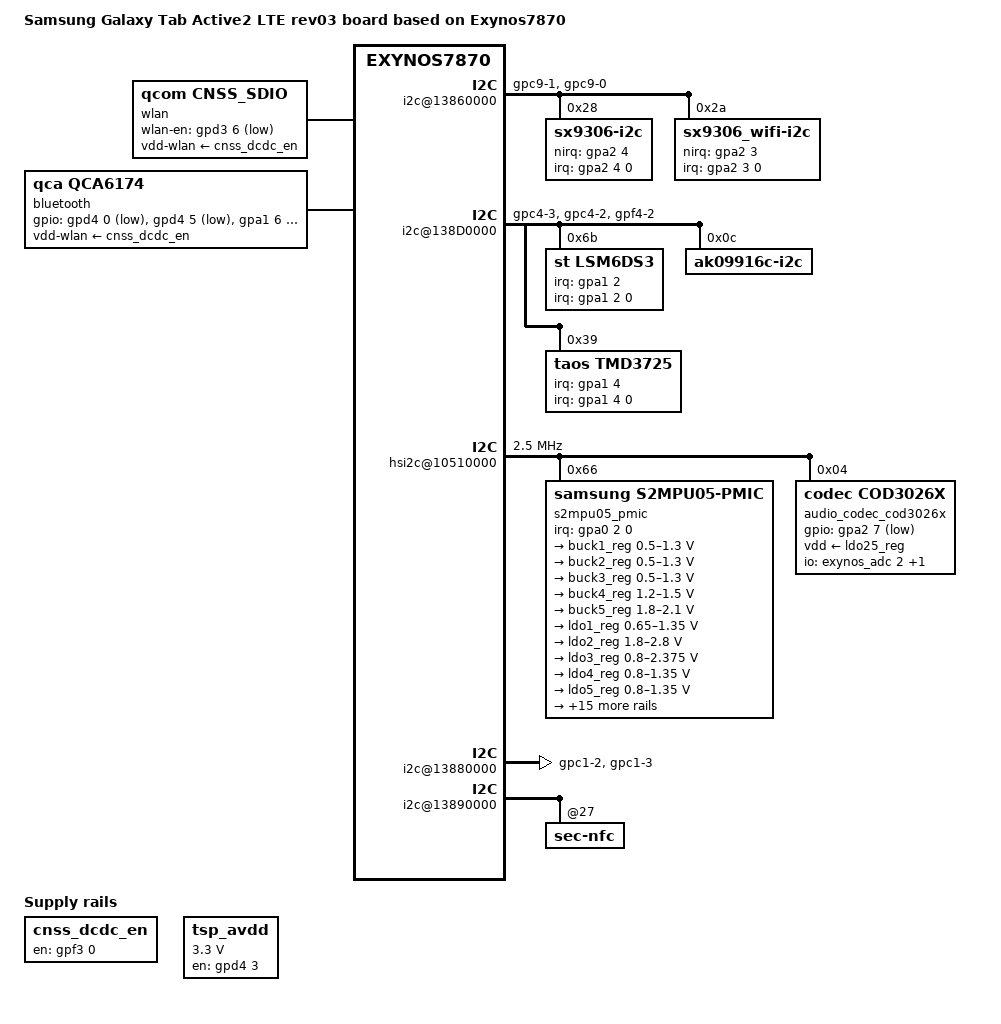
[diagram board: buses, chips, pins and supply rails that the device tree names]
/*
 * SAMSUNG UNIVERSAL8890 board device tree source
 *
 * Copyright (c) 2013 Samsung Electronics Co., Ltd.
 *		http://www.samsung.com
 *
 * This program is free software; you can redistribute it and/or modify
 * it under the terms of the GNU General Public License version 2 as
 * published by the Free Software Foundation.
*/

/dts-v1/;
#include "exynos7870-gtactive2_common.dtsi"
#include "modem-ss315ap-pdata.dtsi"
#include "exynos7870-gtactive2lte_eur_open_gpio_03.dtsi"
#include "z_batterydata_gtactive2lte_eur_open_common.dtsi"
#include "exynos7870-gtactive2lte_fingerprint-sensor_02.dtsi"

/ {
	model = "Samsung Galaxy Tab Active2 LTE rev03 board based on Exynos7870";
        model_info-chip = <7870>;
        model_info-platform = "android";
        model_info-subtype = "samsung";
        model_info-hw_rev = <3>;
        model_info-hw_rev_end = <3>;
	compatible = "samsung, Galaxy Tab Active2 LTE 03", "samsung,exynos7870";

	cnss_dcdc_en: cnss_dcdc_en {
		compatible = "regulator-fixed";
		regulator-name = "cnss_dcdc_en";
		startup-delay-us = <4000>;
		enable-active-high;
		gpio = <&gpf3 0 0>;
	};

	serial_2: uart@13820000 {
		samsung,alive-io;
	};

	pinctrl@139F0000 {
		acc_int: acc_int {
			samsung,pins = "gpa1-2";
			samsung,pin-function = <0xF>;
			samsung,pin-pud = <0>;
			samsung,pin-drv = <0>;
		};

		grip_int: grip_int {
			samsung,pins = "gpa2-4";
			samsung,pin-function = <0xF>;
			samsung,pin-pud = <0>;
			samsung,pin-drv = <0>;
		};

		grip_wifi_int: grip_wifi_int {
			samsung,pins = "gpa2-3";
			samsung,pin-function = <0xF>;
			samsung,pin-pud = <0>;
			samsung,pin-drv = <0>;
		};

		prox_int: prox_int {
			samsung,pins = "gpa1-4";
			samsung,pin-function = <0xF>;
			samsung,pin-pud = <0>;
			samsung,pin-drv = <0>;
		};
		/delete-node/ bt-btwake;
	};

	i2c@13860000 {
		samsung,i2c-sda-delay = <100>;
		samsung,i2c-max-bus-freq = <400000>;
		status = "okay";
		#address-cells = <1>;
		#size-cells = <0>;
		pinctrl-names = "default";
		pinctrl-0 = <&grip_i2c>;
		
		sx9306-i2c@28 {
			compatible = "sx9306-i2c";
			reg = <0x28>;
			pinctrl-names = "default";
			pinctrl-0 = <&grip_int>;
			interrupt-parent = <&gpa2>;
			interrupts = <4 0 0>;
			sx9306-i2c,nirq-gpio = <&gpa2 4 0>;
			#sx9306-i2c,ctrl0 = <0x14>; /* Scanperiod : 60 */
			sx9306-i2c,ctrl2 = <0x77>; /* Gain: 8, Freq : 167, Resolution : Finest */
			sx9306-i2c,ctrl3 = <0x03>; /* Rawfilter: High */
			#sx9306-i2c,ctrl5 = <0x0f>; /* AVGNEG:001 AVGPOS : 111 */
			sx9306-i2c,normal-thd = <7>; /* normal touch threshold */
			sx9306-i2c,ch-main = <2>; /* channel number */
			sx9306-i2c,ch-sub1 = <0xff>; /*oxff: Not be used sub channel */
			sx9306-i2c,ta-thd = <0x11>; /* TA threhold : 400 */
		};
		
		sx9306_wifi-i2c@2a{
			compatible = "sx9306_wifi-i2c";
			reg = <0x2a>;
			pinctrl-names = "default";
			pinctrl-0 = <&grip_wifi_int>;
			interrupt-parent = <&gpa2>;
			interrupts = <3 0 0>;
			sx9306_wifi-i2c,nirq-gpio = <&gpa2 3 0>;
			#sx9306_wifi-i2c,ctrl0 = <0x04>; /* Scanperiod : 30 */
			sx9306_wifi-i2c,ctrl2 = <0x77>; /* Gain:8, Freq : 167, Resolution : Finest */
			sx9306_wifi-i2c,ctrl3 = <0x03>; /* Rawfilter: High */
			#sx9306_wifi-i2c,ctrl5 = <0x0f>; /* AVGNEG:001 AVGPOS : 111 */
			sx9306_wifi-i2c,normal-thd = <4>; /* normal touch threshold */
			sx9306_wifi-i2c,ch-main = <2>; /* channel number */
			sx9306_wifi-i2c,ch-sub1 = <0xff>; /*oxff: Not be used sub channel */
			sx9306_wifi-i2c,ta-thd = <0x0f>; /* TA threhold : 300 */
		};
	};
	
	i2c@138D0000 {
		samsung,i2c-sda-delay = <100>;
		samsung,i2c-max-bus-freq = <400000>;
		status = "okay";
		#address-cells = <1>;
		#size-cells = <0>;
		pinctrl-names = "default";
		pinctrl-0 = <&sensor_i2c &sensor_ldo_en>;

		lsm6ds3@6b {
			compatible = "st,lsm6ds3";
			reg = <0x6b>;
			pinctrl-names = "default";
			pinctrl-0 = <&acc_int>;
			interrupt-parent = <&gpa1>;
			interrupts = <2 0 0>;
			st,orientation = <1 2 1 2 1 1 1 1 0>;
			st,drdy-int-pin = <1>;
			st,irq_gpio = <&gpa1 2 0x00>;
		};

		ak09916c-i2c@0C {
			compatible = "ak09916c-i2c";
			reg = <0x0c>;
			ak09916c-i2c,chip_pos = <0>;
		};

		tmd3725@39 {
			compatible = "taos,tmd3725";
			reg = <0x39>;
			pinctrl-names = "default";
			pinctrl-0 = <&prox_int &proxy_led_en>;
			interrupt-parent = <&gpa1>;
			interrupts = <4 0 0>;
			taos,irq_gpio = <&gpa1 4 0x00>;
			taos,vled_ldo_pin = <&gpd3 3 0x00>;
			taos,prox_thd_det_hi = <55>;
			taos,prox_thd_still_det_low = <40>;
			taos,prox_thd_still_det_hi = <250>;
			taos,prox_thd_rel_low = <130>;
			taos,coef_r = <(-830)>;
			taos,coef_g = <1100>;
			taos,coef_b = <(-1180)>;
			taos,coef_c = <1000>;
			taos,dgf = <925>;
			taos,cct_coef = <3521>;
			taos,cct_offset = <2095>;
		};
	};

	hsi2c@10510000 {
		status = "okay";
		samsung,hs-mode;
		clock-frequency = <2500000>;
		samsung,hsi2c-batcher;
		#address-cells = <1>;
		#size-cells = <0>;

		s2mpu05_pmic@66 {
			compatible = "samsung,s2mpu05-pmic";
			reg = <0x66>;
			ten-bit-address;
			interrupts = <2 0 0>;
			interrupt-parent = <&gpa0>;
			pinctrl-names = "default";
			pinctrl-0 = <&pmic_irq &pm_wrsti>;
			g3d_en = <1>; /* 1 : enable , 0 : disable */
			buck2en_pin = "etc1-3";
			buck2en_addr = "139B0080.pinctrl";
			/* RTC: wtsr/smpl */
			wtsr_en = <1>; /* enable */
			smpl_en = <1>; /* enable */
			wtsr_timer_val = <3>;   /* 1000ms */
			smpl_timer_val = <4>;   /* 500ms */
			check_jigon = <0>; /* do not check jigon */
			/* RTC: If it's first boot, reset rtc to 1/1/2017 12:00:00(Sun) */
			init_time,sec = <0>;
			init_time,min = <0>;
			init_time,hour = <12>;
			init_time,mday = <1>;
			init_time,mon = <0>;
			init_time,year = <117>;
			init_time,wday = <0>;

			regulators {
				buck1_reg: BUCK1 {
					regulator-name = "BUCK1";
					regulator-min-microvolt = <500000>;
					regulator-max-microvolt = <1300000>;
					regulator-always-on;
					regulator-boot-on;
					regulator-ramp-delay = <12000>;
					regulator-initial-mode = <1>;
					regulator-expected-consumer = <2>;
				};

				buck2_reg: BUCK2 {
					regulator-name = "BUCK2";
					regulator-min-microvolt = <500000>;
					regulator-max-microvolt = <1300000>;
					regulator-always-on;
					regulator-boot-on;
					regulator-ramp-delay = <12000>;
					regulator-initial-mode = <2>;		/* MIF mode */
					regulator-expected-consumer = <4>;
				};

				buck3_reg: BUCK3 {
					regulator-name = "BUCK3";
					regulator-min-microvolt = <500000>;
					regulator-max-microvolt = <1300000>;
					regulator-always-on;
					regulator-boot-on;
					regulator-ramp-delay = <12000>;
					regulator-initial-mode = <2>;
				};

				buck4_reg: BUCK4 {
					regulator-name = "BUCK4";
					regulator-min-microvolt = <1200000>;
					regulator-max-microvolt = <1500000>;
					regulator-always-on;
					regulator-boot-on;
					regulator-ramp-delay = <12000>;
					regulator-initial-mode = <2>;
				};

				buck5_reg: BUCK5 {
					regulator-name = "BUCK5";
					regulator-min-microvolt = <1800000>;
					regulator-max-microvolt = <2100000>;
					regulator-always-on;
					regulator-boot-on;
					regulator-ramp-delay = <12000>;
					regulator-initial-mode = <2>;
				};

				ldo1_reg: LDO1 {
					regulator-name = "vdd_ldo1";
					regulator-min-microvolt = <650000>;
					regulator-max-microvolt = <1350000>;
					regulator-always-on;
					regulator-boot-on;
					regulator-ramp-delay = <12000>;
					regulator-initial-mode = <3>;
				};

				ldo2_reg: LDO2 {
					regulator-name = "vqmmc";
					regulator-min-microvolt = <1800000>;
					regulator-max-microvolt = <2800000>;
					regulator-ramp-delay = <12000>;
					regulator-initial-mode = <0>;
				};

				ldo3_reg: LDO3 {
					regulator-name = "vdd_ldo3";
					regulator-min-microvolt = <800000>;
					regulator-max-microvolt = <2375000>;
					regulator-boot-on;
					regulator-always-on;
					regulator-ramp-delay = <12000>;
					regulator-initial-mode = <3>;
				};

				ldo4_reg: LDO4 {
					regulator-name = "vdd_ldo4";
					regulator-min-microvolt = <800000>;
					regulator-max-microvolt = <1350000>;
					regulator-boot-on;
					regulator-always-on;
					regulator-ramp-delay = <12000>;
					regulator-initial-mode = <1>;
				};

				ldo5_reg: LDO5 {
					regulator-name = "vdd_ldo5";
					regulator-min-microvolt = <800000>;
					regulator-max-microvolt = <1350000>;
					regulator-boot-on;
					regulator-always-on;
					regulator-ramp-delay = <12000>;
					regulator-initial-mode = <3>;
				};

				ldo6_reg: LDO6 {
					regulator-name = "vdd_ldo6";
					regulator-min-microvolt = <800000>;
					regulator-max-microvolt = <1350000>;
					regulator-boot-on;
					regulator-always-on;
					regulator-ramp-delay = <12000>;
					regulator-initial-mode = <1>;
				};

				ldo7_reg: LDO7 {
					regulator-name = "vdd_ldo7";
					regulator-min-microvolt = <800000>;
					regulator-max-microvolt = <2375000>;
					regulator-boot-on;
					regulator-always-on;
					regulator-ramp-delay = <12000>;
					regulator-initial-mode = <1>;
				};

				ldo8_reg: LDO8 {
					regulator-name = "vdd_ldo8";
					regulator-min-microvolt = <1800000>;
					regulator-max-microvolt = <3375000>;
					regulator-boot-on;
					regulator-always-on;
					regulator-ramp-delay = <12000>;
					regulator-initial-mode = <1>;
				};

				ldo9_reg: LDO9 {
					regulator-name = "vdd_ldo9";
					regulator-min-microvolt = <650000>;
					regulator-max-microvolt = <1350000>;
					regulator-always-on;
					regulator-ramp-delay = <12000>;
					regulator-initial-mode = <1>;
				};

				ldo10_reg: LDO10 {
					regulator-name = "vdd_ldo10";
					regulator-min-microvolt = <650000>;
					regulator-max-microvolt = <1350000>;
					regulator-always-on;
					regulator-ramp-delay = <12000>;
					regulator-initial-mode = <1>;
				};

				ldo25_reg: LDO25 {
					regulator-name = "vdd_ldo25";
					regulator-min-microvolt = <800000>;
					regulator-max-microvolt = <2375000>;
					regulator-ramp-delay = <12000>;
					regulator-initial-mode = <1>;
				};

				ldo26_reg: LDO26 {
					regulator-name = "vemmc";
					regulator-min-microvolt = <1800000>;
					regulator-max-microvolt = <3375000>;
					regulator-boot-on;
					regulator-ramp-delay = <12000>;
					regulator-initial-mode = <3>;
				};

				ldo27_reg: LDO27 {
					regulator-name = "vqemmc";
					regulator-min-microvolt = <800000>;
					regulator-max-microvolt = <2375000>;
					regulator-boot-on;
					regulator-ramp-delay = <12000>;
					regulator-initial-mode = <3>;
				};

				ldo29_reg: LDO29 {
					regulator-name = "GRIP_2P8";
					regulator-min-microvolt = <2800000>;
					regulator-max-microvolt = <2800000>;
					regulator-boot-on;
					regulator-always-on;
					regulator-ramp-delay = <12000>;
					regulator-initial-mode = <3>;
				};

				ldo30_reg: LDO30 {
					regulator-name = "LCD_1P8";
					regulator-min-microvolt = <1800000>;
					regulator-max-microvolt = <1800000>;
					regulator-initial-mode = <3>;
				};

				ldo31_reg: LDO31 {
					regulator-name = "vdd_ldo31";
					regulator-min-microvolt = <2800000>;
					regulator-max-microvolt = <2800000>;
					regulator-boot-on;
					regulator-always-on;
					regulator-ramp-delay = <12000>;
					regulator-initial-mode = <3>;
				};

				ldo32_reg: LDO32 {
					regulator-name = "tsp_dvdd";
					regulator-min-microvolt = <1800000>;
					regulator-max-microvolt = <1800000>;
				};

				ldo33_reg: LDO33 {
					regulator-name = "VDD_CAM_AF_2P8";
					regulator-min-microvolt = <2800000>;
					regulator-max-microvolt = <2800000>;
					regulator-initial-mode = <0>;
				};

				ldo34_reg: LDO34 {
					regulator-name = "VDDIO_1.8V_CAM";
					regulator-min-microvolt = <1800000>;
					regulator-max-microvolt = <1800000>;
					regulator-initial-mode = <0>;
				};

				ldo35_reg: LDO35 {
					regulator-name = "VDD_CAM_SENSOR_A2P8";
					regulator-min-microvolt = <2800000>;
					regulator-max-microvolt = <2800000>;
					regulator-initial-mode = <0>;
				};
			};
		};

		audio_codec_cod3026x: cod3026x@04 {
			compatible = "codec,cod3026x";
			reg = <0x04>;
			ten-bit-address;
			vdd-supply = <&ldo25_reg>;
			pinctrl-names = "default";
			pinctrl-0 = <&cod3026_irq>;
			interrupt-parent = <&gpa2>;
			gpios = <&gpa2 7 0xf>;
			mic-bias1-voltage = <1>;
			mic-bias2-voltage = <1>;
			mic-bias-ldo-voltage = <3>;
			use-det-adc-mode;
			use-det-gdet-adc-mode = <1>;
			io-channels = <&exynos_adc 2>,<&exynos_adc 4>;
			io-channel-names = "adc-ear","adc-gdet";
			#io-channel-cells = <2>;
			io-channel-ranges;
			but-zones-list = <&but_zones 226 0 206>, /* send/end */
					<&but_zones 582 207 290>, /* google */
					<&but_zones 115 291 492>, /* vol up */
					<&but_zones 114 493 1300>; /* vol down */
			mic-adc-range = <1367>;
			mic-det-delay = <550>;
			water-threshold-max = <2250>;
			water-threshold-min1 = <550>;
			water-threshold-min2 = <550>;
		};
	};

	i2c@13880000 {
		samsung,i2c-sda-delay = <100>;
		samsung,i2c-max-bus-freq = <400000>;
		#address-cells = <1>;
		#size-cells = <0>;
		status = "okay";

		samsung,i2c-bus-num = <20>;
		pinctrl-names = "default";
		pinctrl-0 = <&spk_amp_i2c>;
	};

	i2c@13890000{
		sec-nfc@27 {
			/delete-property/ sec-nfc,pvdd_en;
			/delete-property/ pinctrl-0;		
			pinctrl-0 = <&nfc_en &nfc_clk_req &nfc_firm>;
		};
	};
	
	/* Gtactive2lte model needs SD Card Detect Pin Setting */
	dwmmc2@13560000 {
		skip-init-mmc-scan;
		card-detect = <&gpa0 1 0xf>;
		card-detect-gpio;
		sec-sd-slot-type = <1>; /* Normal SD slot */
	};

	wlan {
		compatible = "qcom,cnss_sdio";
		wlan-en-gpio = <&gpd3 6 0x1>; /* WLAN_EN */
		wlan-host-wake = <&gpa2 2 0>; /* WLAN_HOST_WAKE */
		vdd-wlan-supply = <&cnss_dcdc_en>; /* DCDC_EN regulator */
		pinctrl-names = "default";
		pinctrl-0 = <&cnss_wlanen &cfg_wlanhostwake>;
		status = "okay";
	};

	pinctrl@13750000 {
		sd0_rdqs: sd0-rdqs {
			samsung,pins = "gpr0-2";
			samsung,pin-pud = <1>;
		};

		sd1_clk: sd1-clk {
			samsung,pin-drv = <1>;
		};

		sd1_cmd: sd1-cmd {
			samsung,pin-drv = <1>;
		};
	
		sd1_bus1: sd1-bus-width1 {
			samsung,pin-pud = <3>;
			samsung,pin-drv = <1>;
		};

		sd1_bus4: sd1-bus-width4 {
			samsung,pin-pud = <3>;
			samsung,pin-drv = <1>;
		};
	};
	
	bluetooth {
		compatible = "qca,qca6174";
		gpios = <&gpd4 0 0x1	/*BT_EN*/
				&gpd4 5 0x1	/*BT_WAKE*/
				&gpa1 6 0xF	/*BT_HOST_WAKE*/ >;
		vdd-wlan-supply = <&cnss_dcdc_en>; /* DCDC_EN regulator */
		pinctrl-names = "default";
		pinctrl-0=<&bt_hostwake &bt_btwake &bt_en>;
		status = "okay";
	};

	s1402x: s1402x@14880000 {
		pinctrl-names = "default", "idle", "bt", "bt-idle";
		pinctrl-0 = <&i2s_pmic_amp_bus
			&i2s_amp_bus>;
		pinctrl-1 = <&i2s_pmic_amp_bus_idle
			&i2s_bt_bus_idle> ;
		pinctrl-2 = <&i2s_pmic_bus
			&i2s_bt_bus>;
		pinctrl-3 = <&i2s_bt_bus_idle>;

		/delete-property/ bck-mcko-mode;
		status = "okay";
	};

	pinctrl@139B0000 {
		spk_amp_i2c: spk-amp-i2c{
			samsung,pins ="gpc1-2", "gpc1-3";
			samsung,pin-function = <2>;
			samsung,pin-pud = <0>;
			samsung,pin-drv = <0>;
		};
		sensor_i2c: sensor_i2c {
			samsung,pins = "gpc4-3", "gpc4-2";
			samsung,pin-function = <2>;
			samsung,pin-pud = <0>;
		};

		grip_i2c: grip_i2c {
			samsung,pins = "gpc9-1", "gpc9-0";
			samsung,pin-function = <2>;
			samsung,pin-pud = <0>;
		};
		bt_en: bt-en {
			samsung,pins ="gpd4-0";
			samsung,pin-function = <1>;
			samsung,pin-pud = <0>;
			samsung,pin-con-pdn = <3>;
			samsung,pin-pud-pdn = <0>;
		};

		bt_btwake: bt-btwake {
			samsung,pins = "gpd4-5";
			samsung,pin-function = <1>;
			samsung,pin-pud = <1>;
			samsung,pin-pud-pdn = <0>;
		};
		sensor_ldo_en: sensor_ldo_en {
			samsung,pins = "gpf4-2";
			samsung,pin-function = <1>;
			samsung,pin-pud = <0>;
			samsung,pin-val = <1>;
		};

		proxy_led_en: proxy_led_en {
			samsung,pins = "gpd3-3";
			samsung,pin-function = <1>;
			samsung,pin-pud = <0>;
		};
	};

	tsp_avdd {
		compatible = "regulator-fixed";
		regulator-name = "tsp_avdd";
		regulator-min-microvolt = <3300000>;
		regulator-max-microvolt = <3300000>;
		gpio = <&gpd4 3 0>;
		enable-active-high;
	};

	pinctrl@139B0000 {
		tsp_en: tsp-en {
			samsung,pins = "gpd4-3";
			samsung,pin-function = <0x1>;
			samsung,pin-pud = <0>;
			samsung,pin-drv = <0>;
		};
	};

	i2c@13840000 {
		pinctrl-names = "default";
		pinctrl-0 = <&i2c3_bus &tsp_en>;
	};
};
